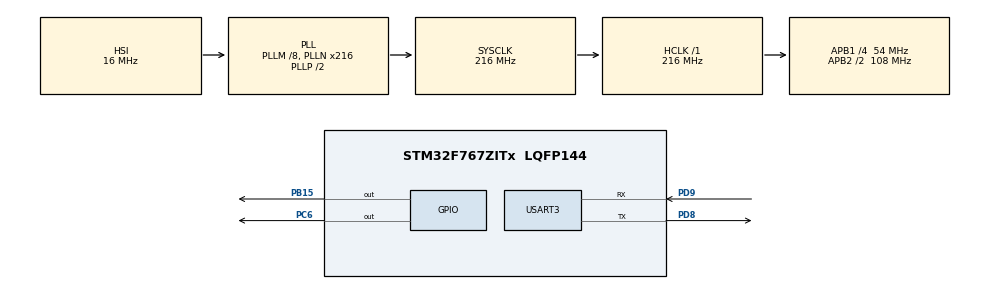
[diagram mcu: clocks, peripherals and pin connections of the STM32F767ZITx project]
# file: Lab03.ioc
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Mcu.Family=STM32F7
Mcu.Name=STM32F767ZITx
Mcu.Package=LQFP144
NVIC.PriorityGroup=NVIC_PRIORITYGROUP_4
PB15.Signal=GPIO_Output
PC6.Signal=GPIO_Output
PD8.Mode=Asynchronous
PD8.Signal=USART3_TX
PD9.Mode=Asynchronous
PD9.Signal=USART3_RX
ProjectManager.HeapSize=0x200
ProjectManager.StackSize=0x400
ProjectManager.TargetToolchain=STM32CubeIDE
RCC.AHBFreq_Value=216000000
RCC.APB1CLKDivider=RCC_HCLK_DIV4
RCC.APB1Freq_Value=54000000
RCC.APB1TimFreq_Value=108000000
RCC.APB2CLKDivider=RCC_HCLK_DIV2
RCC.APB2Freq_Value=108000000
RCC.APB2TimFreq_Value=216000000
RCC.CortexFreq_Value=216000000
RCC.HCLKFreq_Value=216000000
RCC.HSE_VALUE=25000000
RCC.HSI_VALUE=16000000
RCC.LSE_VALUE=32768
RCC.PLLM=8
RCC.PLLN=216
RCC.SYSCLKFreq_VALUE=216000000
RCC.SYSCLKSource=RCC_SYSCLKSOURCE_PLLCLK
RCC.USBFreq_Value=216000000
RCC.VCOOutputFreq_Value=432000000
USART3.VirtualMode-Asynchronous=VM_ASYNC
board=custom

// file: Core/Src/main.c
/* USER CODE BEGIN Header */
/**
 ******************************************************************************
 * @file           : main.c
 * @brief          : Main program body
 ******************************************************************************
 * @attention
 *
 * Copyright (c) 2023 STMicroelectronics.
 * All rights reserved.
 *
 * This software is licensed under terms that can be found in the LICENSE file
 * in the root directory of this software component.
 * If no LICENSE file comes with this software, it is provided AS-IS.
 *
 ******************************************************************************
 */
/* USER CODE END Header */
#include "main.h"
#include "usart.h"
#include "gpio.h"

/* USER CODE BEGIN Includes */
#include "string.h"
/* USER CODE END Includes */

/* USER CODE BEGIN PV */
char str[] =
		"Display Blinking LED PRESS (1, 2)\n\rDisplay Group Members PRESS m\n\rQuit PRESS q";
char ch1 = 'A';
char word[] = "\n\rQUIT";
char txt[] = "\n\r\tInput => ";
char ch2;
char m[] = "\n\r64010459\n\rBoonyawee Kreesaeng";
char u[] = "\n\rUnknown Command";
/* USER CODE END PV */

void SystemClock_Config(void);

int main(void) {

	/* MCU Configuration--------------------------------------------------------*/

	/* Reset of all peripherals, Initializes the Flash interface and the Systick. */
	HAL_Init();

	/* Configure the system clock */
	SystemClock_Config();

	/* Initialize all configured peripherals */
	MX_GPIO_Init();
	MX_USART3_UART_Init();
	/* USER CODE BEGIN 2 */
	HAL_UART_Transmit(&huart3, (uint8_t*) str, strlen(str), 1000);
	/* USER CODE END 2 */

	/* Infinite loop */
	while (1) {

		/* USER CODE BEGIN 3 */
		/*01*/
//	  while(__HAL_UART_GET_FLAG(&huart3, UART_FLAG_TC) == RESET) {}
//	  HAL_UART_Transmit(&huart3, (uint8_t*) str, strlen(str), 1000);
//	  HAL_Delay(300);
		/*02*/
//	  HAL_UART_Transmit(&huart3, (uint8_t*) &ch1, 1, 1000);
//	  HAL_Delay(300);
		/*03*/
//	  HAL_UART_Transmit(&huart3, txt, strlen(txt), 1000);
//
//	  while(__HAL_UART_GET_FLAG(&huart3, UART_FLAG_RXNE) == RESET) {}
//	  HAL_UART_Receive(&huart3, (uint8_t*) &ch2, 1, 1000);
//	  if(ch2 == 'q') {
//		  HAL_UART_Transmit(&huart3, &ch2, 1, 1000);
//		  HAL_UART_Transmit(&huart3, (uint8_t*) word, strlen(word), 1000);
//		  break;
//	  }
//	  else {
//		  HAL_UART_Transmit(&huart3, &ch2, 1, 1000);
//	  }
		/*04*/
		HAL_UART_Transmit(&huart3, txt, strlen(txt), 1000);

		while (__HAL_UART_GET_FLAG(&huart3, UART_FLAG_RXNE) == RESET) {
		}
		HAL_UART_Receive(&huart3, (uint8_t*) &ch2, 1, 1000);
		if (ch2 == '1') {
			HAL_UART_Transmit(&huart3, &ch2, 1, 1000);
			HAL_GPIO_WritePin(GPIOC, GPIO_PIN_6, 1);
			HAL_Delay(300);
			HAL_GPIO_WritePin(GPIOC, GPIO_PIN_6, 0);
			HAL_Delay(300);
			HAL_GPIO_WritePin(GPIOC, GPIO_PIN_6, 1);
			HAL_Delay(300);
			HAL_GPIO_WritePin(GPIOC, GPIO_PIN_6, 0);
			HAL_Delay(300);
			HAL_GPIO_WritePin(GPIOC, GPIO_PIN_6, 1);
			HAL_Delay(300);
			HAL_GPIO_WritePin(GPIOC, GPIO_PIN_6, 0);
		}
		else if (ch2 == '2') {
			HAL_UART_Transmit(&huart3, &ch2, 1, 1000);
			HAL_GPIO_WritePin(GPIOB, GPIO_PIN_15, 1);
			HAL_Delay(300);
			HAL_GPIO_WritePin(GPIOB, GPIO_PIN_15, 0);
			HAL_Delay(300);
			HAL_GPIO_WritePin(GPIOB, GPIO_PIN_15, 1);
			HAL_Delay(300);
			HAL_GPIO_WritePin(GPIOB, GPIO_PIN_15, 0);
			HAL_Delay(300);
			HAL_GPIO_WritePin(GPIOB, GPIO_PIN_15, 1);
			HAL_Delay(300);
			HAL_GPIO_WritePin(GPIOB, GPIO_PIN_15, 0);
		}
		else if (ch2 == 'm') {
			HAL_UART_Transmit(&huart3, &ch2, 1, 1000);
			HAL_UART_Transmit(&huart3, (uint8_t*) m, strlen(m), 1000);
		}
		else if (ch2 == 'q') {
			HAL_UART_Transmit(&huart3, &ch2, 1, 1000);
			HAL_UART_Transmit(&huart3, (uint8_t*) word, strlen(word), 1000);
			break;
		}
		else {
			HAL_UART_Transmit(&huart3, &ch2, 1, 1000);
			HAL_UART_Transmit(&huart3, (uint8_t*) u, strlen(u), 1000);
		}
	}
	/* USER CODE END 3 */
}

void SystemClock_Config(void) {
	RCC_OscInitTypeDef RCC_OscInitStruct = { 0 };
	RCC_ClkInitTypeDef RCC_ClkInitStruct = { 0 };

	/** Configure the main internal regulator output voltage
	 */
	__HAL_RCC_PWR_CLK_ENABLE();
	__HAL_PWR_VOLTAGESCALING_CONFIG(PWR_REGULATOR_VOLTAGE_SCALE1);

	/** Initializes the RCC Oscillators according to the specified parameters
	 * in the RCC_OscInitTypeDef structure.
	 */
	RCC_OscInitStruct.OscillatorType = RCC_OSCILLATORTYPE_HSI;
	RCC_OscInitStruct.HSIState = RCC_HSI_ON;
	RCC_OscInitStruct.HSICalibrationValue = RCC_HSICALIBRATION_DEFAULT;
	RCC_OscInitStruct.PLL.PLLState = RCC_PLL_ON;
	RCC_OscInitStruct.PLL.PLLSource = RCC_PLLSOURCE_HSI;
	RCC_OscInitStruct.PLL.PLLM = 8;
	RCC_OscInitStruct.PLL.PLLN = 216;
	RCC_OscInitStruct.PLL.PLLP = RCC_PLLP_DIV2;
	RCC_OscInitStruct.PLL.PLLQ = 2;
	RCC_OscInitStruct.PLL.PLLR = 2;
	if (HAL_RCC_OscConfig(&RCC_OscInitStruct) != HAL_OK) {
		Error_Handler();
	}

	/** Activate the Over-Drive mode
	 */
	if (HAL_PWREx_EnableOverDrive() != HAL_OK) {
		Error_Handler();
	}

	/** Initializes the CPU, AHB and APB buses clocks
	 */
	RCC_ClkInitStruct.ClockType = RCC_CLOCKTYPE_HCLK | RCC_CLOCKTYPE_SYSCLK
			| RCC_CLOCKTYPE_PCLK1 | RCC_CLOCKTYPE_PCLK2;
	RCC_ClkInitStruct.SYSCLKSource = RCC_SYSCLKSOURCE_PLLCLK;
	RCC_ClkInitStruct.AHBCLKDivider = RCC_SYSCLK_DIV1;
	RCC_ClkInitStruct.APB1CLKDivider = RCC_HCLK_DIV4;
	RCC_ClkInitStruct.APB2CLKDivider = RCC_HCLK_DIV2;

	if (HAL_RCC_ClockConfig(&RCC_ClkInitStruct, FLASH_LATENCY_7) != HAL_OK) {
		Error_Handler();
	}
}

void Error_Handler(void) {
	__disable_irq();
	while (1) {
	}
}
